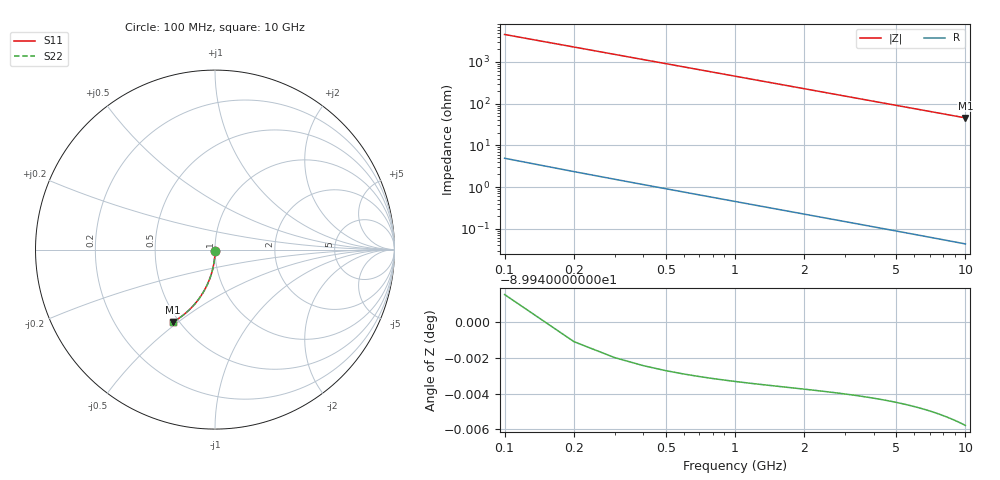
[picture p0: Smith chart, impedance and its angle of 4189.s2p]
# Hz S RI R 50.00
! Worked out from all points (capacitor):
!   100 points, 100 MHz to 10 GHz, reference 50 ohm
!   read as one part in shunt: C = 349 fF near 100 MHz
!   lowest |Z| = 45.7 ohm at 10 GHz (marker M1)
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1e8  3.82e-05 -0.00528  0.9999 -0.00567  0.9999 -0.00567  3.82e-05 -0.00528
2e8  -5.66e-05 -0.0106  0.9998 -0.0113  0.9998 -0.0113  -5.66e-05 -0.0106
3e8  -0.000211 -0.0158  0.9996 -0.017  0.9996 -0.017  -0.000211 -0.0158
4e8  -0.000426 -0.0211  0.9994 -0.0227  0.9994 -0.0227  -0.000426 -0.0211
5e8  -0.000701 -0.0264  0.9991 -0.0284  0.9991 -0.0284  -0.000701 -0.0264
6e8  -0.00104 -0.0317  0.9988 -0.034  0.9988 -0.034  -0.00104 -0.0317
7e8  -0.00143 -0.0369  0.9984 -0.0397  0.9984 -0.0397  -0.00143 -0.0369
8e8  -0.00188 -0.0422  0.998 -0.0453  0.998 -0.0453  -0.00188 -0.0422
9e8  -0.0024 -0.0474  0.9974 -0.051  0.9974 -0.051  -0.0024 -0.0474
1.1e9  -0.0036 -0.0579  0.9962 -0.0622  0.9962 -0.0622  -0.0036 -0.0579
1.4e9  -0.00585 -0.0735  0.994 -0.079  0.994 -0.079  -0.00585 -0.0735
1.8e9  -0.00965 -0.0942  0.9902 -0.1013  0.9902 -0.1013  -0.00965 -0.0942
2.1e9  -0.0131 -0.1095  0.9867 -0.1178  0.9867 -0.1178  -0.0131 -0.1095
2.5e9  -0.0185 -0.1297  0.9813 -0.1395  0.9813 -0.1395  -0.0185 -0.1297
2.9e9  -0.0247 -0.1495  0.975 -0.1609  0.975 -0.1609  -0.0247 -0.1495
3.4e9  -0.0337 -0.1736  0.966 -0.187  0.966 -0.187  -0.0337 -0.1736
4.2e9  -0.0506 -0.2107  0.9491 -0.2273  0.9491 -0.2273  -0.0506 -0.2107
5.1e9  -0.073 -0.2498  0.9267 -0.27  0.9267 -0.27  -0.073 -0.2498
5.9e9  -0.0955 -0.282  0.9041 -0.3053  0.9041 -0.3053  -0.0955 -0.282
6.7e9  -0.12 -0.3114  0.8795 -0.338  0.8795 -0.338  -0.12 -0.3114
8.4e9  -0.177 -0.3648  0.8223 -0.3982  0.8223 -0.3982  -0.177 -0.3648
1e10  -0.2343 -0.4034  0.7647 -0.4433  0.7647 -0.4433  -0.2343 -0.4034
